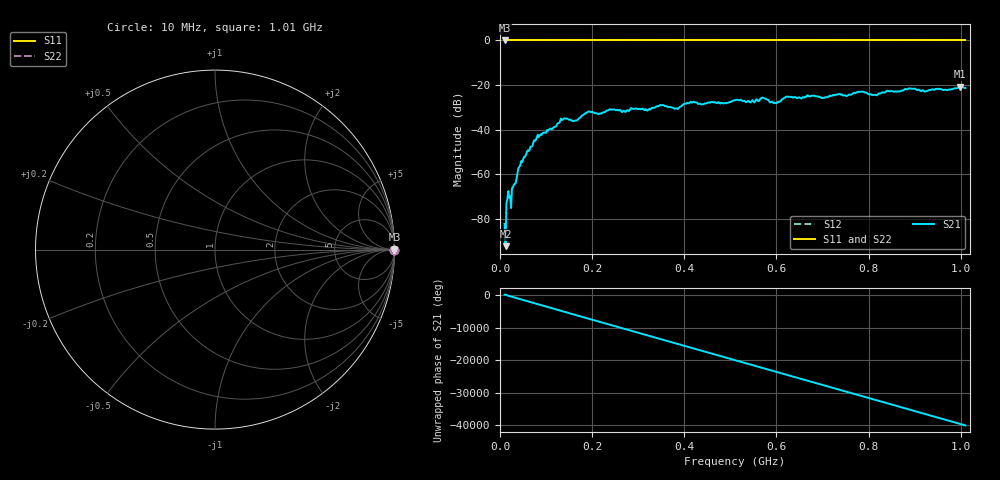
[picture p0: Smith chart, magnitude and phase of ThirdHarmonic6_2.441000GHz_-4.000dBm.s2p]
! 8/17/2025 4:17:37 AM
! C:\ANRITSUVNA\TEMP\TEMP.S2P
! CHANNEL.1
! TR.MEASUREMENT
! RAW.DATA
! RF.CORRECTION.OFF
! AVERAGING.OFF
! IF.BANDWIDTH: 5KHZ
! SWEEPTYPE:  FREQ.SWEEP(Linear)
! Reference Plane Port Info
! PORT:  PORT1  PORT2
! DISTANCE:  0  m  0  m
! TIME:  0  s  0  s
! PHASE.OFFSET:  0  deg.  0  deg.
! LOSS:  0  dB  0  dB
! REF.LOSS:  0  dB  0  dB
! REF.FREQ:  0  Hz  0  Hz
! Power Info
! POWER:  -20  dBm  -20  dBm
! EFF.POWER:  -20  dBm  -20  dBm
! SOURCE.ATTEN:  0  dB  0  dB
! TEST.ATTEN:  0  dB  0  dB
# GHZ S RI R 50.0
! FREQ.GHZ  S11RE  S11IM  S21RE  S21IM  S12RE  S12IM  S22RE  S22IM
!; PortSelection: Port_12
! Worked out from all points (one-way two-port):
!   501 points, 10 MHz to 1.01 GHz, reference 50 ohm
!   highest |S21| = -20.73 dB at 998 MHz (marker M1); lowest = -92.4 dB at 12 MHz (marker M2)
!   lowest |S11| = 0.0 dB at 10 MHz (marker M3)
!   |S11| at or under -10 dB: nowhere
!   |S22| runs from 0.0 to 0.0 dB; largest |S21 - S12| = 1.1
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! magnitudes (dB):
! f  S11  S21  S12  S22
! 10 MHz  0.0  -82.4  0.0  0.0
! 12 MHz  0.0  -92.4  0.0  0.0
! 18 MHz  0.0  -67.6  0.0  0.0
! 28 MHz  0.0  -66.0  0.0  0.0
! 42 MHz  0.0  -56.8  0.0  0.0
! 78 MHz  0.0  -44.6  0.0  0.0
! 136 MHz  0.0  -35.6  0.0  0.0
! 162 MHz  0.0  -36.1  0.0  0.0
! 178 MHz  0.0  -33.7  0.0  0.0
! 344 MHz  0.0  -29.6  0.0  0.0
! 382 MHz  0.0  -30.5  0.0  0.0
! 416 MHz  0.0  -27.9  0.0  0.0
! 510 MHz  0.0  -26.8  0.0  0.0
! 572 MHz  0.0  -25.9  0.0  0.0
! 598 MHz  0.0  -28.1  0.0  0.0
! 624 MHz  0.0  -25.2  0.0  0.0
! 678 MHz  0.0  -24.8  0.0  0.0
! 784 MHz  0.0  -23.1  0.0  0.0
! 814 MHz  0.0  -24.4  0.0  0.0
! 844 MHz  0.0  -22.8  0.0  0.0
! 998 MHz  0.0  -20.7  0.0  0.0
! 1.01 GHz  0.0  -21.4  0.0  0.0
